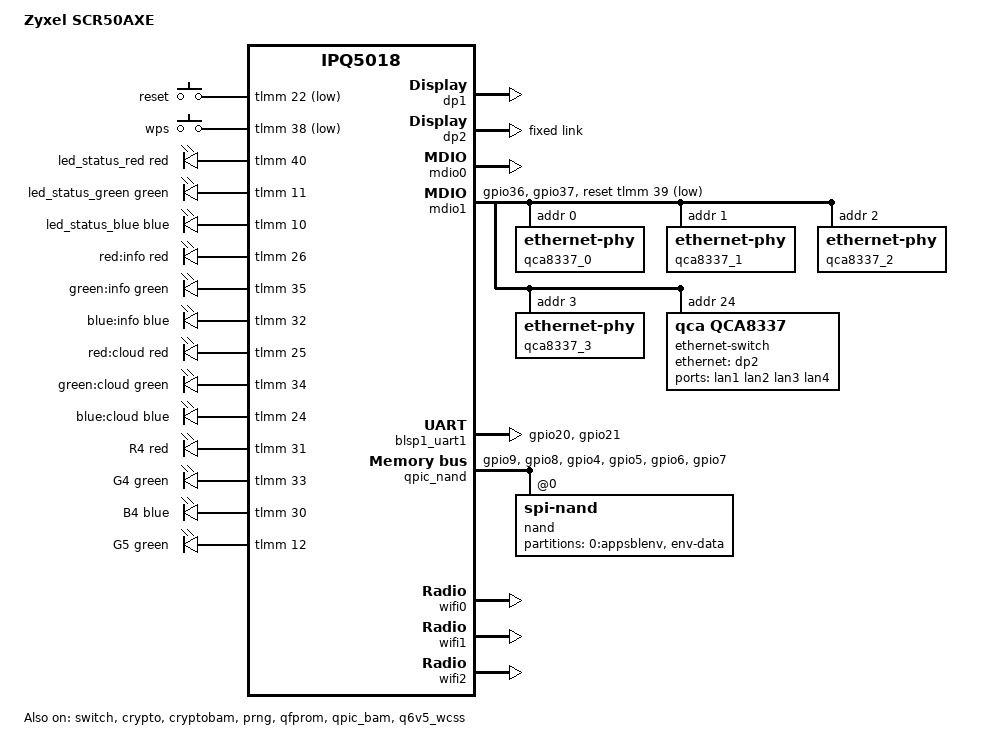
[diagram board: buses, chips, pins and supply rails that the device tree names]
/dts-v1/;

#include "ipq5018.dtsi"
#include "ipq5018-ess.dtsi"

#include <dt-bindings/gpio/gpio.h>
#include <dt-bindings/input/input.h>
#include <dt-bindings/leds/common.h>

/ {
	model = "Zyxel SCR50AXE";
	compatible ="zyxel,scr50axe", "qcom,ipq5018";

	aliases {
		label-mac-device = &dp2;
		led-boot = &led_status_blue;
		led-failsafe = &led_status_red;
		led-upgrade = &led_status_green;
		led-running = &led_status_green;
		serial0 = &blsp1_uart1;
	};

	chosen {
		bootargs-append = " root=/dev/ubiblock0_1 swiotlb=1 coherent_pool=2M";
		stdout-path = "serial0:115200n8";
	};

	keys {
		compatible = "gpio-keys";
		pinctrl-0 = <&button_pins>;
		pinctrl-names = "default";

		reset {
			label = "reset";
			gpios = <&tlmm 22 GPIO_ACTIVE_LOW>;
			linux,code = <KEY_RESTART>;
		};

		wps {
			label = "wps";
			gpios = <&tlmm 38 GPIO_ACTIVE_LOW>;
			linux,code = <KEY_WPS_BUTTON>;
		};
	};

	leds {
		compatible = "gpio-leds";
		pinctrl-0 = <&leds_pins>;
		pinctrl-names = "default";

		led_status_red: R1 {
			color = <LED_COLOR_ID_RED>;
			gpios = <&tlmm 40 GPIO_ACTIVE_HIGH>;
			function = LED_FUNCTION_STATUS;
		};

		led_status_green: G1 {
			color = <LED_COLOR_ID_GREEN>;
			gpios = <&tlmm 11 GPIO_ACTIVE_HIGH>;
			function = LED_FUNCTION_STATUS;
		};

		led_status_blue: B1 {
			color = <LED_COLOR_ID_BLUE>;
			gpios = <&tlmm 10 GPIO_ACTIVE_HIGH>;
			function = LED_FUNCTION_STATUS;
		};

		R2 {
			label = "red:info";
			color = <LED_COLOR_ID_RED>;
			gpios = <&tlmm 26 GPIO_ACTIVE_HIGH>;
		};

		G2 {
			label = "green:info";
			color = <LED_COLOR_ID_GREEN>;
			gpios = <&tlmm 35 GPIO_ACTIVE_HIGH>;
		};

		B2 {
			label = "blue:info";
			color = <LED_COLOR_ID_BLUE>;
			gpios = <&tlmm 32 GPIO_ACTIVE_HIGH>;
		};

		R3 {
			label = "red:cloud";
			color = <LED_COLOR_ID_RED>;
			gpios = <&tlmm 25 GPIO_ACTIVE_HIGH>;
		};

		G3 {
			label = "green:cloud";
			color = <LED_COLOR_ID_GREEN>;
			gpios = <&tlmm 34 GPIO_ACTIVE_HIGH>;
		};

		B3 {
			label = "blue:cloud";
			color = <LED_COLOR_ID_BLUE>;
			gpios = <&tlmm 24 GPIO_ACTIVE_HIGH>;
		};

		R4 {
			color = <LED_COLOR_ID_RED>;
			gpios = <&tlmm 31 GPIO_ACTIVE_HIGH>;
			function = LED_FUNCTION_WLAN_6GHZ;
			linux,default-trigger = "phy2radio";
		};

		G4 {
			color = <LED_COLOR_ID_GREEN>;
			gpios = <&tlmm 33 GPIO_ACTIVE_HIGH>;
			function = LED_FUNCTION_WLAN_2GHZ;
			linux,default-trigger = "phy0radio";
		};

		B4 {
			color = <LED_COLOR_ID_BLUE>;
			gpios = <&tlmm 30 GPIO_ACTIVE_HIGH>;
			function = LED_FUNCTION_WLAN_5GHZ;
			linux,default-trigger = "phy1radio";
		};

		G5 {
			color = <LED_COLOR_ID_GREEN>;
			gpios = <&tlmm 12 GPIO_ACTIVE_HIGH>;
			function = LED_FUNCTION_WPS;
		};
	};

	reserved-memory {

		q6_mem_regions: q6_mem_regions@4b000000 {
			no-map;
			reg = <0x0 0x4b000000 0x0 0x4400000>;
		};
	};
};

&switch {
	status = "okay";
	switch_mac_mode = <MAC_MODE_SGMII_CHANNEL0>;

	qcom,port_phyinfo {

		port@0 {
			port_id = <1>;
			mdiobus = <&mdio0>;
			phy_address = <7>;
		};

		port@1 {
			port_id = <2>;
			forced-speed = <1000>;
			forced-duplex = <1>;
		};
	};
};

&dp1 {
	status = "okay";

	label = "wan";
	nvmem-cells = <&macaddr_appsblenv_ethaddr 0>;
	nvmem-cell-names = "mac-address";
};

&dp2 {
	status = "okay";
	nvmem-cells = <&macaddr_appsblenv_ethaddr (-4)>;
	nvmem-cell-names = "mac-address";

	fixed-link {
		speed = <1000>;
		full-duplex;
	};
};

&mdio0 {
	status = "okay";
};

&mdio1 {
	status = "okay";
	pinctrl-0 = <&mdio1_pins>;
	pinctrl-names = "default";
	reset-gpios = <&tlmm 39 GPIO_ACTIVE_LOW>;

	qca8337_0: ethernet-phy@0 {
		reg = <0>;
	};

	qca8337_1: ethernet-phy@1 {
		reg = <1>;
	};

	qca8337_2: ethernet-phy@2 {
		reg = <2>;
	};

	qca8337_3: ethernet-phy@3 {
		reg = <3>;
	};

	ethernet-switch@18 {
		compatible = "qca,qca8337";
		reg = <0x18>;
		#address-cells = <1>;
		#size-cells = <0>;

		ports {
			#address-cells = <1>;
			#size-cells = <0>;

			port@1 {
				reg = <1>;
				label = "lan1";
				phy-handle = <&qca8337_0>;
			};

			port@2 {
				reg = <2>;
				label = "lan2";
				phy-handle = <&qca8337_1>;
			};

			port@3 {
				reg = <3>;
				label = "lan3";
				phy-handle = <&qca8337_2>;
			};

			port@4 {
				reg = <4>;
				label = "lan4";
				phy-handle = <&qca8337_3>;
			};

			port@6 {
				reg = <6>;
				phy-mode = "sgmii";
				ethernet = <&dp2>;
				qca,sgmii-enable-pll;

				fixed-link {
					speed = <1000>;
					full-duplex;
				};
			};
		};
	};
};

&sleep_clk {
	clock-frequency = <32000>;
};

&xo_board_clk {
	clock-div = <4>;
	clock-mult = <1>;
};

&blsp1_uart1 {
	status = "okay";
	pinctrl-0 = <&serial_0_pins>;
	pinctrl-names = "default";
};

&crypto {
	status = "okay";
};

&cryptobam {
	status = "okay";
};

&prng {
	status = "okay";
};

&qfprom {
	status = "okay";
};

&qpic_bam {
	status = "okay";
};

&qpic_nand {
	pinctrl-0 = <&qpic_pins>;
	pinctrl-names = "default";
	status = "okay";

	nand@0 {
		compatible = "spi-nand";
		reg = <0>;
		#address-cells = <1>;
		#size-cells = <1>;

		nand-ecc-engine = <&qpic_nand>;
		nand-bus-width = <8>;
		nand-ecc-strength = <4>;
		nand-ecc-step-size = <512>;

		partitions {
			compatible = "qcom,smem-part";

			partition-0-appsblenv {
				compatible = "fixed-partitions";
				label = "0:appsblenv";
				#address-cells = <1>;
				#size-cells = <1>;

				partition@0 {
					label = "env-data";
					reg = <0x0 0x40000>;

					nvmem-layout {
						compatible = "u-boot,env";

						macaddr_appsblenv_ethaddr: ethaddr {
							compatible = "mac-base";
							#nvmem-cell-cells = <1>;
						};
					};
				};
			};
		};

	};
};

&tlmm {
	mdio1_pins: mdio-state {

		mdc-pins {
			pins = "gpio36";
			function = "mdc";
			drive-strength = <8>;
			bias-pull-up;
		};

		mdio-pins {
			pins = "gpio37";
			function = "mdio";
			drive-strength = <8>;
			bias-pull-up;
		};
	};

	leds_pins: leds-pins {
		pins = "gpio26", "gpio35", "gpio32", "gpio25", "gpio34",
		       "gpio24", "gpio31", "gpio33", "gpio30", "gpio10",
		       "gpio11", "gpio12", "gpio40";
		function = "gpio";
		drive-strength = <8>;
		bias-pull-down;
	};

	button_pins: button-pins {
		pins = "gpio22", "gpio38";
		function = "gpio";
		drive-strength = <8>;
		bias-pull-up;
	};

	qpic_pins: qpic-state {

		clock-pins {
			pins = "gpio9";
			function = "qspi_clk";
			drive-strength = <8>;
			bias-disable;
		};

		cs-pins {
			pins = "gpio8";
			function = "qspi_cs";
			drive-strength = <8>;
			bias-disable;
		};

		data-pins {
			pins = "gpio4", "gpio5", "gpio6", "gpio7";
			function = "qspi_data";
			drive-strength = <8>;
			bias-disable;
		};
	};

	serial_0_pins: uart0-state {
		pins =
			"gpio20", // RX
			"gpio21"; // TX
		function = "blsp0_uart0";
		drive-strength = <8>;
		bias-disable;
	};
};

&q6v5_wcss {
	status = "okay";

	memory-region = <&q6_mem_regions>;
	firmware-name = "ath11k/IPQ5018/hw1.0/q6_fw.mdt",
					"ath11k/IPQ5018/hw1.0/m3_fw.mdt",
					"ath11k/QCN6122/hw1.0/m3_fw.mdt";

	// IPQ5018
	q6_wcss_pd1: pd-1 {
		status = "okay";
		
		firmware-name = "ath11k/IPQ5018/hw1.0/q6_fw.mdt";

		resets =
			<&gcc GCC_WCSSAON_RESET>,
			<&gcc GCC_WCSS_BCR>,
			<&gcc GCC_CE_BCR>;
		reset-names =
			"wcss_aon_reset",
			"wcss_reset",
			"ce_reset";

		clocks =
			<&gcc GCC_WCSS_AHB_S_CLK>,
			<&gcc GCC_WCSS_ACMT_CLK>,
			<&gcc GCC_WCSS_AXI_M_CLK>;
		clock-names =
			"gcc_wcss_ahb_s_clk",
			"gcc_wcss_acmt_clk",
			"gcc_wcss_axi_m_clk";

		// qcom,halt-regs = <&tcsr_q6_block 0xa000 0xd000 0x0>;
		interrupts-extended =
			<&wcss_smp2p_in 8 IRQ_TYPE_NONE>,
			<&wcss_smp2p_in 9 IRQ_TYPE_NONE>,
			<&wcss_smp2p_in 12 IRQ_TYPE_NONE>,
			<&wcss_smp2p_in 11 IRQ_TYPE_NONE>;
		interrupt-names =
			"fatal",
			"ready",
			"spawn-ack",
			"stop-ack";

		qcom,smem-states =
			<&wcss_smp2p_out 8>,
			<&wcss_smp2p_out 9>,
			<&wcss_smp2p_out 10>;
		qcom,smem-state-names =
			"shutdown",
			"stop",
			"spawn";
	};

	// QCN6102 5G
	q6_wcss_pd2: pd-2 {
		status = "okay";

		firmware-name = "ath11k/IPQ5018/hw1.0/q6_fw.mdt";

		interrupts-extended =
			<&wcss_smp2p_in 16 IRQ_TYPE_NONE>,
			<&wcss_smp2p_in 17 IRQ_TYPE_NONE>,
			<&wcss_smp2p_in 20 IRQ_TYPE_NONE>,
			<&wcss_smp2p_in 19 IRQ_TYPE_NONE>;
		interrupt-names =
			"fatal",
			"ready",
			"spawn-ack",
			"stop-ack";

		qcom,smem-states =
			<&wcss_smp2p_out 16>,
			<&wcss_smp2p_out 17>,
			<&wcss_smp2p_out 18>;
		qcom,smem-state-names =
			"shutdown",
			"stop",
			"spawn";
	};

	// QCN6122 6G
	q6_wcss_pd3: pd-3 {
		status = "okay";

		firmware-name = "ath11k/IPQ5018/hw1.0/q6_fw.mdt";

		interrupts-extended =
			<&wcss_smp2p_in 24 IRQ_TYPE_NONE>,
			<&wcss_smp2p_in 25 IRQ_TYPE_NONE>,
			<&wcss_smp2p_in 28 IRQ_TYPE_NONE>,
			<&wcss_smp2p_in 27 IRQ_TYPE_NONE>;
		interrupt-names =
			"fatal",
			"ready",
			"spawn-ack",
			"stop-ack";

		qcom,smem-states =
			<&wcss_smp2p_out 24>,
			<&wcss_smp2p_out 25>,
			<&wcss_smp2p_out 26>;
		qcom,smem-state-names =
			"shutdown",
			"stop",
			"spawn";
	};
};

&wifi0 {
	// IPQ5018
	status = "okay";

	qcom,rproc = <&q6_wcss_pd1>;
	qcom,userpd-subsys-name = "q6v5_wcss_userpd1";
	qcom,ath11k-calibration-variant = "Zyxel-SCR50AXE";
	qcom,ath11k-fw-memory-mode = <1>;
	qcom,bdf-addr = <0x4c400000>;
};

&wifi1 {
	// QCN6102 5G
	status = "okay";

	qcom,rproc = <&q6_wcss_pd2>;
	qcom,userpd-subsys-name = "q6v5_wcss_userpd2";
	qcom,ath11k-calibration-variant = "Zyxel-SCR50AXE";
	qcom,ath11k-fw-memory-mode = <1>;
	qcom,bdf-addr = <0x4d100000>;
	qcom,m3-dump-addr = <0x4de00000>;
};

&wifi2 {
	// QCN6122 6G
	status = "okay";

	qcom,rproc = <&q6_wcss_pd3>;
	qcom,userpd-subsys-name = "q6v5_wcss_userpd3";
	qcom,ath11k-calibration-variant = "Zyxel-SCR50AXE-6G";
	qcom,ath11k-fw-memory-mode = <1>;
	qcom,bdf-addr = <0x4e500000>;
	qcom,m3-dump-addr = <0x4f200000>;
};
